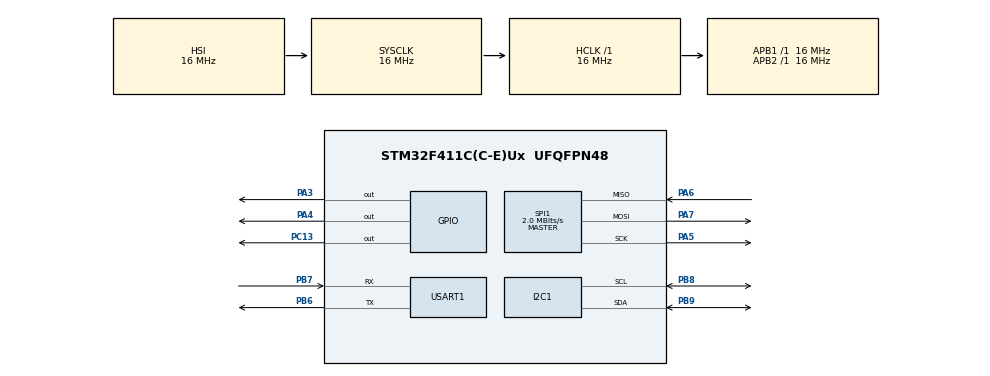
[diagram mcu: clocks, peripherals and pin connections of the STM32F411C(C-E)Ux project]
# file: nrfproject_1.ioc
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I2C1.I2C_Mode=I2C_Fast
Mcu.Family=STM32F4
Mcu.Name=STM32F411C(C-E)Ux
Mcu.Package=UFQFPN48
NVIC.PriorityGroup=NVIC_PRIORITYGROUP_4
PA3.Signal=GPIO_Output
PA4.Signal=GPIO_Output
PA5.Mode=Full_Duplex_Master
PA5.Signal=SPI1_SCK
PA6.Mode=Full_Duplex_Master
PA6.Signal=SPI1_MISO
PA7.Mode=Full_Duplex_Master
PA7.Signal=SPI1_MOSI
PB6.Mode=Asynchronous
PB6.Signal=USART1_TX
PB7.Mode=Asynchronous
PB7.Signal=USART1_RX
PB8.Mode=I2C
PB8.Signal=I2C1_SCL
PB9.Mode=I2C
PB9.Signal=I2C1_SDA
PC13-ANTI_TAMP.Signal=GPIO_Output
ProjectManager.HeapSize=0x200
ProjectManager.StackSize=0x400
ProjectManager.TargetToolchain=STM32CubeIDE
RCC.AHBFreq_Value=16000000
RCC.APB1Freq_Value=16000000
RCC.APB2Freq_Value=16000000
RCC.CortexFreq_Value=16000000
RCC.HSE_VALUE=25000000
RCC.HSI_VALUE=16000000
RCC.LSE_VALUE=32768
RCC.SYSCLKFreq_VALUE=16000000
RCC.VCOOutputFreq_Value=192000000
SPI1.BaudRatePrescaler=SPI_BAUDRATEPRESCALER_8
SPI1.CalculateBaudRate=2.0 MBits/s
SPI1.Direction=SPI_DIRECTION_2LINES
SPI1.Mode=SPI_MODE_MASTER
SPI1.VirtualType=VM_MASTER
USART1.VirtualMode=VM_ASYNC
board=custom

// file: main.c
/* USER CODE BEGIN Header */
/**
  ******************************************************************************
  * @file           : main.c
  * @brief          : Main program body
  ******************************************************************************
  * @attention
  *
  * Copyright (c) 2025 STMicroelectronics.
  * All rights reserved.
  *
  * This software is licensed under terms that can be found in the LICENSE file
  * in the root directory of this software component.
  * If no LICENSE file comes with this software, it is provided AS-IS.
  *
  ******************************************************************************
  */
/* USER CODE END Header */
#include "main.h"
#include "NRF24_reg_addresses.h"
#include "NRF24.h"
#include <string.h>
#include <math.h>
#include <stdint.h>

#define PLD_SIZE 6

#define NRF_CSN_PORT  GPIOA
#define NRF_CSN_PIN   GPIO_PIN_3   // CSN on PA3

#define NRF_CE_PORT   GPIOA
#define NRF_CE_PIN    GPIO_PIN_4   // CE on PA4

/* ===================== HiWonder I2C Driver Helpers ===================== *

I2C_HandleTypeDef hi2c1;

SPI_HandleTypeDef hspi1;

UART_HandleTypeDef huart1;

typedef enum { HIW_PROTO_UNKNOWN=0, HIW_PROTO_A, HIW_PROTO_B } hiw_proto_t;

static uint8_t   g_hiw_addr7  = 0x34;      // will be updated by scan
static hiw_proto_t g_hiw_proto = HIW_PROTO_UNKNOWN;

/* Scan I2C bus for a likely motor driver address (0x30/0x32 common). */
static uint8_t hiw_scan_bus(void) {
  uint8_t found = 0;
  for (uint8_t a = 1; a < 127; ++a) {
    if (HAL_I2C_IsDeviceReady(&hi2c1, a<<1, 1, 5) == HAL_OK) {
      g_hiw_addr7 = a;
      found = 1;
      break;
    }
  }
  return found;
}

/* Convenience: write "reg, value" pair. */
static HAL_StatusTypeDef hiw_write_reg(uint8_t reg, uint8_t val) {
  uint8_t buf[2] = {reg, val};
  return HAL_I2C_Master_Transmit(&hi2c1, g_hiw_addr7<<1, buf, 2, 10);
}

/* Map [-100..100] to {dir,mag} with mag in [0..255]. */
static inline void sp_to_dir_mag(int8_t pct, uint8_t *dir, uint8_t *mag) {
  int16_t m = (int16_t)((pct < 0 ? -pct : pct) * 2.55f); // 0..255
  if (m > 255) m = 255;
  *mag = (uint8_t)m;
  *dir = (pct >= 0) ? 1 : 0; // 1=fwd, 0=rev (adjust if your board flips)
}

/* ---------- Protocol A: separate DIR/SPEED registers per motor ----------
   Guess: M1 dir=0x00, speed=0x01; M2 dir=0x02, speed=0x03.
   Many simple dual drivers use this mapping. */
static HAL_StatusTypeDef hiwA_set(uint8_t motor, int8_t pct) {
  uint8_t dir, mag; sp_to_dir_mag(pct, &dir, &mag);
  uint8_t reg_dir   = (motor==1) ? 0x00 : 0x02;
  uint8_t reg_speed = (motor==1) ? 0x01 : 0x03;
  if (hiw_write_reg(reg_dir, dir)   != HAL_OK) return HAL_ERROR;
  if (hiw_write_reg(reg_speed, mag) != HAL_OK) return HAL_ERROR;
  return HAL_OK;
}

/* ---------- Protocol B: packed command [cmd, motorId, dir, speed] -------
   Some HiWonder boards do: cmd=0x01, motorId ∈ {1,2}. */
static HAL_StatusTypeDef hiwB_set(uint8_t motor, int8_t pct) {
  uint8_t dir, mag; sp_to_dir_mag(pct, &dir, &mag);
  uint8_t pkt[4] = {0x01, motor, dir, mag};
  return HAL_I2C_Master_Transmit(&hi2c1, g_hiw_addr7<<1, pkt, 4, 10);
}

/* Try both patterns with a harmless "speed = 0" to see which ACKs. */
static void hiw_detect_protocol(void) {
  g_hiw_proto = HIW_PROTO_UNKNOWN;
  // Try Protocol A
  if (hiwA_set(1, 0) == HAL_OK && hiwA_set(2, 0) == HAL_OK) {
    g_hiw_proto = HIW_PROTO_A;
    return;
  }
  // Try Protocol B
  if (hiwB_set(1, 0) == HAL_OK && hiwB_set(2, 0) == HAL_OK) {
    g_hiw_proto = HIW_PROTO_B;
    return;
  }
}

/* Public: set speed in percent [-100..100]; motor 1=left, 2=right. */
static void hiw_set_speed(uint8_t motor, int8_t pct) {
  if (g_hiw_proto == HIW_PROTO_A) { hiwA_set(motor, pct); return; }
  if (g_hiw_proto == HIW_PROTO_B) { hiwB_set(motor, pct); return; }
  // Unknown → do nothing (or try both)
}

/* Optional: stop both motors. */
static void hiw_stop_all(void) {
  hiw_set_speed(1, 0);
  hiw_set_speed(2, 0);
}

/* Quick functional test: forward then reverse slowly. */
static void hiw_quick_test(void) {
  for (int i=0;i<15;i++){ hiw_set_speed(1, 20); hiw_set_speed(2, 20); HAL_Delay(50); }
  HAL_Delay(400);
  for (int i=0;i<15;i++){ hiw_set_speed(1,-20); hiw_set_speed(2,-20); HAL_Delay(50); }
  hiw_stop_all();
}

void SystemClock_Config(void);
static void MX_GPIO_Init(void);
static void MX_SPI1_Init(void);
static void MX_I2C1_Init(void);
static void MX_USART1_UART_Init(void);

/* USER CODE BEGIN PFP */
typedef struct __attribute__((packed)) {
  uint8_t hdr;   // 0xAA
  uint8_t seq;   // rolling counter
  int8_t  vx;    // forward/back [-127..127]
  int8_t  wz;    // turn        [-127..127]
  uint8_t flags; // bit0 = e-stop
  uint8_t crc;   // CRC-8 over bytes [0..4], poly 0x07, init 0x00
} ControlPkt;

static uint8_t crc8(const uint8_t* data, size_t len) {
  uint8_t c = 0x00;
  for (size_t i = 0; i < len; ++i) {
    c ^= data[i];
    for (uint8_t b = 0; b < 8; ++b)
      c = (c & 0x80) ? (uint8_t)((c << 1) ^ 0x07) : (uint8_t)(c << 1);
  }
  return c;
}

static inline float clampf(float x, float lo, float hi) {
  return x < lo ? lo : (x > hi ? hi : x);
}
static int8_t ramp(int8_t cur, int8_t target, int8_t step){
  if (target > cur) return (target - cur > step) ? cur + step : target;
  if (target < cur) return (cur - target > step) ? cur - step : target;
  return cur;
}
/* USER CODE END PFP */

/* USER CODE BEGIN 0 */
//#ifdef tx
//uint8_t data_R[PLD_SIZE] = {"Hello"};
//#else
//uint8_t data_T[PLD_SIZE];
//#endif
/* USER CODE END 0 */

int main(void)
{

  /* MCU Configuration--------------------------------------------------------*/

  /* Reset of all peripherals, Initializes the Flash interface and the Systick. */
  HAL_Init();

  /* Configure the system clock */
  SystemClock_Config();

  /* Initialize all configured peripherals */
  MX_GPIO_Init();
  MX_SPI1_Init();
  MX_I2C1_Init();
  MX_USART1_UART_Init();

  hiw_scan_bus();         // finds the I2C address (e.g., 0x30 / 0x32)
   hiw_detect_protocol();
   hiw_set_speed(1, 30);   // left ~30%
    hiw_set_speed(2, 30);   // right ~30%
    HAL_Delay(1000);
    hiw_stop_all();
  /* USER CODE BEGIN 2 */
  /* ---- HiWonder bring-up ---- */
/*  if (!hiw_scan_bus()) {
    // No I2C device responded; check wiring/power/pull-ups
    // (Optionally print via UART here)
  }
  hiw_detect_protocol();
  // Optional one-time motion check (lift tracks off table!)
  // hiw_quick_test();

  csn_high();
  ce_low();

  nrf24_init();
  nrf24_tx_pwr(_0dbm);
  nrf24_data_rate(_1mbps);
  nrf24_set_channel(100);
  nrf24_set_crc(en_crc, _1byte);

  nrf24_pipe_pld_size(0, PLD_SIZE);
  uint8_t addr[5] = {'0', '0','0','0','1'};
  nrf24_open_rx_pipe(0,addr);
//  nrf24_open_tx_pipe[0,addr];
ce_high();
nrf24_listen();

 uint32_t last_rx_ms = HAL_GetTick();
 // If you later add motors, keep ramped outputs here:
 int8_t Lout = 0, Rout = 0; */

//uint8_t rx[PLD_SIZE] = {0};
//#ifdef tx
  //nrf24_stop_listen();
//#else
  //nrf24_listen();
//#endif

  /* USER CODE END 2 */

  /* Infinite loop */
  /* USER CODE BEGIN WHILE */
  while (1)
  {
	  /*if (nrf24_data_available())
	      {
	        ControlPkt p = {0};
	        nrf24_receive((uint8_t*)&p, sizeof(p));

	        /* Validate
	        if (p.hdr != 0xAA) goto after_packet;
	        if (crc8((uint8_t*)&p, 5) != p.crc) goto after_packet;

	        last_rx_ms = HAL_GetTick();

	        /* E-stop flag?
	        if (p.flags & 0x01) {
	          // TODO: drive motors: hiw_set_speed(1,0); hiw_set_speed(2,0);
	        	hiw_stop_all();
	          Lout = Rout = 0;
	          // quick flash to indicate e-stop
	          for (int i=0;i<3;i++){ HAL_GPIO_TogglePin(GPIOC, GPIO_PIN_13); HAL_Delay(60); }
	          continue;
	        }

	        /* Convert to floats in [-1..1]
	        float v = ((float)p.vx) / 127.0f;   // forward/back
	        float w = ((float)p.wz) / 127.0f;   // turn

	        /* Tank mix
	        float L = clampf(v + w, -1.0f, 1.0f);
	        float R = clampf(v - w, -1.0f, 1.0f);

	        /* First-run limit (raise later)
	        const float LIMIT = 0.60f;
	        L = clampf(L, -LIMIT, LIMIT);
	        R = clampf(R, -LIMIT, LIMIT);

	        /* Map to -100..100 (for your motor driver later)
	        int8_t Ltgt = (int8_t)lrintf(L * 100.0f);
	        int8_t Rtgt = (int8_t)lrintf(R * 100.0f);

	        /* Optional ramping (comment out if not needed yet)
	        Lout = ramp(Lout, Ltgt, 3);
	        Rout = ramp(Rout, Rtgt, 3);

   #define LEFT_INVERT   0
   #define RIGHT_INVERT  0
   int8_t Lsend = LEFT_INVERT  ? (int8_t)-Lout : Lout;
   int8_t Rsend = RIGHT_INVERT ? (int8_t)-Rout : Rout;

   // Requires you added hiw_set_speed() helpers earlier
   hiw_set_speed(1, Lsend);  // M1 = left
   hiw_set_speed(2, Rsend);

	        /* TODO: send to motor driver over I2C here
	          hiw_set_speed(1, Lout);
	           hiw_set_speed(2, Rout); */

	        /* For now: LED indicates packets — blink faster with more forward */
	        //uint32_t base = 400;
	        //uint32_t delta = (uint32_t)(fabsf(v) * 300.0f);
	        //uint32_t delayMs = base - delta;
	       // if (w < 0.15f) HAL_GPIO_WritePin(GPIOC, GPIO_PIN_13, GPIO_PIN_SET);
	      //  else           HAL_GPIO_WritePin(GPIOC, GPIO_PIN_13, GPIO_PIN_RESET);
	        //HAL_Delay(60);
	        /* LED behavior:
	           - Forward  (v > +deadband): solid ON
	           - Reverse  (v < -deadband): flash (blink)
	           - Neutral  (|v| <= deadband): OFF
	           This ignores 'w' entirely.

	        const float deadband = 0.05f;        // tweak if needed
	        static uint32_t lastBlinkMs = 0;
	        static uint8_t  blinkState = 0;

	        if (v >  deadband) {
	          // Forward: solid ON
	        	HAL_GPIO_WritePin(GPIOC, GPIO_PIN_13, GPIO_PIN_RESET);
	        } else if (v < -deadband) {
	          // Reverse: flashing (faster with more reverse)
	          uint32_t now = HAL_GetTick();
	          uint32_t base = 300;                              // ms at gentle reverse
	          uint32_t delta = (uint32_t)(fabsf(v) * 200.0f);   // speed up as |v| grows
	          uint32_t period = (base > delta) ? (base - delta) : 50; // floor at 50 ms

	          if (now - lastBlinkMs >= period) {
	            lastBlinkMs = now;
	            blinkState ^= 1;
	            if (blinkState) HAL_GPIO_WritePin(GPIOC, GPIO_PIN_13, GPIO_PIN_RESET);
	            else HAL_GPIO_WritePin(GPIOC, GPIO_PIN_13, GPIO_PIN_SET);
	          }
	        } else {
	          // Neutral: OFF
	        	HAL_GPIO_WritePin(GPIOC, GPIO_PIN_13, GPIO_PIN_SET);
	        }

	      }

	  after_packet:
	      /* Link-loss watchdog: stop if no packet for 300 ms
	      if (HAL_GetTick() - last_rx_ms > 300) {
	        if (Lout || Rout) {
	          Lout = Rout = 0; hiw_stop_all();
	          /* TODO: drive motors: hiw_set_speed(1,0); hiw_set_speed(2,0);
	          hiw_set_speed(1,0); hiw_set_speed(2,0);
	        }
	        // Slow blink to show we’re waiting for link*/
	        HAL_GPIO_TogglePin(GPIOC, GPIO_PIN_13);
	        HAL_Delay(250);
	      }
	    }
	  //}
	  //#ifdef rx

//(nrf24_receive(data_R, sizeof(data_R));

  //HAL_Delay(1);
//#else
  //nrf24_stop_listen();
	//  if(nrf24_data_available()){
		//  nrf24_transmit(data_T, sizeof(data_T));
	  //}
	  //HAL_Delay(1);

//#endif

    /* USER CODE END WHILE */

void SystemClock_Config(void)
{
  RCC_OscInitTypeDef RCC_OscInitStruct = {0};
  RCC_ClkInitTypeDef RCC_ClkInitStruct = {0};

  /** Configure the main internal regulator output voltage
  */
  __HAL_RCC_PWR_CLK_ENABLE();
  __HAL_PWR_VOLTAGESCALING_CONFIG(PWR_REGULATOR_VOLTAGE_SCALE1);

  /** Initializes the RCC Oscillators according to the specified parameters
  * in the RCC_OscInitTypeDef structure.
  */
  RCC_OscInitStruct.OscillatorType = RCC_OSCILLATORTYPE_HSI;
  RCC_OscInitStruct.HSIState = RCC_HSI_ON;
  RCC_OscInitStruct.HSICalibrationValue = RCC_HSICALIBRATION_DEFAULT;
  RCC_OscInitStruct.PLL.PLLState = RCC_PLL_NONE;
  if (HAL_RCC_OscConfig(&RCC_OscInitStruct) != HAL_OK)
  {
    Error_Handler();
  }

  /** Initializes the CPU, AHB and APB buses clocks
  */
  RCC_ClkInitStruct.ClockType = RCC_CLOCKTYPE_HCLK|RCC_CLOCKTYPE_SYSCLK
                              |RCC_CLOCKTYPE_PCLK1|RCC_CLOCKTYPE_PCLK2;
  RCC_ClkInitStruct.SYSCLKSource = RCC_SYSCLKSOURCE_HSI;
  RCC_ClkInitStruct.AHBCLKDivider = RCC_SYSCLK_DIV1;
  RCC_ClkInitStruct.APB1CLKDivider = RCC_HCLK_DIV1;
  RCC_ClkInitStruct.APB2CLKDivider = RCC_HCLK_DIV1;

  if (HAL_RCC_ClockConfig(&RCC_ClkInitStruct, FLASH_LATENCY_0) != HAL_OK)
  {
    Error_Handler();
  }
}

static void MX_I2C1_Init(void)
{

  hi2c1.Instance = I2C1;
  hi2c1.Init.ClockSpeed = 400000;
  hi2c1.Init.DutyCycle = I2C_DUTYCYCLE_2;
  hi2c1.Init.OwnAddress1 = 0;
  hi2c1.Init.AddressingMode = I2C_ADDRESSINGMODE_7BIT;
  hi2c1.Init.DualAddressMode = I2C_DUALADDRESS_DISABLE;
  hi2c1.Init.OwnAddress2 = 0;
  hi2c1.Init.GeneralCallMode = I2C_GENERALCALL_DISABLE;
  hi2c1.Init.NoStretchMode = I2C_NOSTRETCH_DISABLE;
  if (HAL_I2C_Init(&hi2c1) != HAL_OK)
  {
    Error_Handler();
  }

}

static void MX_SPI1_Init(void)
{

  /* SPI1 parameter configuration*/
  hspi1.Instance = SPI1;
  hspi1.Init.Mode = SPI_MODE_MASTER;
  hspi1.Init.Direction = SPI_DIRECTION_2LINES;
  hspi1.Init.DataSize = SPI_DATASIZE_8BIT;
  hspi1.Init.CLKPolarity = SPI_POLARITY_LOW;
  hspi1.Init.CLKPhase = SPI_PHASE_1EDGE;
  hspi1.Init.NSS = SPI_NSS_SOFT;
  hspi1.Init.BaudRatePrescaler = SPI_BAUDRATEPRESCALER_8;
  hspi1.Init.FirstBit = SPI_FIRSTBIT_MSB;
  hspi1.Init.TIMode = SPI_TIMODE_DISABLE;
  hspi1.Init.CRCCalculation = SPI_CRCCALCULATION_DISABLE;
  hspi1.Init.CRCPolynomial = 10;
  if (HAL_SPI_Init(&hspi1) != HAL_OK)
  {
    Error_Handler();
  }

}

static void MX_USART1_UART_Init(void)
{

  huart1.Instance = USART1;
  huart1.Init.BaudRate = 115200;
  huart1.Init.WordLength = UART_WORDLENGTH_8B;
  huart1.Init.StopBits = UART_STOPBITS_1;
  huart1.Init.Parity = UART_PARITY_NONE;
  huart1.Init.Mode = UART_MODE_TX_RX;
  huart1.Init.HwFlowCtl = UART_HWCONTROL_NONE;
  huart1.Init.OverSampling = UART_OVERSAMPLING_16;
  if (HAL_UART_Init(&huart1) != HAL_OK)
  {
    Error_Handler();
  }

}

static void MX_GPIO_Init(void)
{
  GPIO_InitTypeDef GPIO_InitStruct = {0};

  /* GPIO Ports Clock Enable */
  __HAL_RCC_GPIOC_CLK_ENABLE();
  __HAL_RCC_GPIOA_CLK_ENABLE();
  __HAL_RCC_GPIOB_CLK_ENABLE();

  /*Configure GPIO pin Output Level */
  HAL_GPIO_WritePin(GPIOC, GPIO_PIN_13, GPIO_PIN_RESET);

  /*Configure GPIO pin Output Level */
  HAL_GPIO_WritePin(GPIOA, GPIO_PIN_3|GPIO_PIN_4, GPIO_PIN_RESET);

  /*Configure GPIO pin : PC13 */
  GPIO_InitStruct.Pin = GPIO_PIN_13;
  GPIO_InitStruct.Mode = GPIO_MODE_OUTPUT_PP;
  GPIO_InitStruct.Pull = GPIO_NOPULL;
  GPIO_InitStruct.Speed = GPIO_SPEED_FREQ_LOW;
  HAL_GPIO_Init(GPIOC, &GPIO_InitStruct);

  /*Configure GPIO pins : PA3 PA4 */
  GPIO_InitStruct.Pin = GPIO_PIN_3|GPIO_PIN_4;
  GPIO_InitStruct.Mode = GPIO_MODE_OUTPUT_PP;
  GPIO_InitStruct.Pull = GPIO_NOPULL;
  GPIO_InitStruct.Speed = GPIO_SPEED_FREQ_LOW;
  HAL_GPIO_Init(GPIOA, &GPIO_InitStruct);

}

void Error_Handler(void)
{
  __disable_irq();
  while (1)
  {
  }
}
